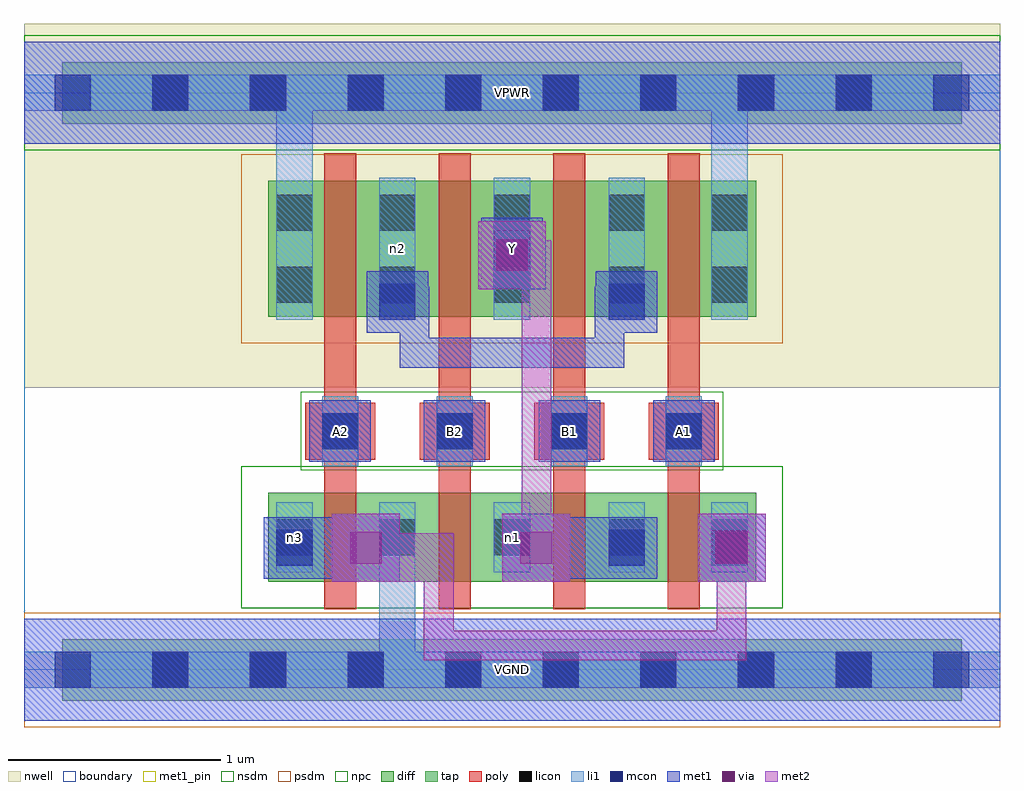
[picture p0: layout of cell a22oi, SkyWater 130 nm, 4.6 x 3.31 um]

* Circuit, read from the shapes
.subckt a22oi A1 A2 B1 B2 VGND VPWR Y n1 n2 n3
XM1 VGND A2 n3 VGND sky130_fd_pr__nfet_01v8 w=0.42 l=0.15
XM2 n1 B2 VGND VGND sky130_fd_pr__nfet_01v8 w=0.42 l=0.15
XM3 Y B1 n1 VGND sky130_fd_pr__nfet_01v8 w=0.42 l=0.15
XM4 n3 A1 Y VGND sky130_fd_pr__nfet_01v8 w=0.42 l=0.15
XM5 n2 A2 VPWR VPWR sky130_fd_pr__pfet_01v8 w=0.64 l=0.15
XM6 Y B2 n2 VPWR sky130_fd_pr__pfet_01v8 w=0.64 l=0.15
XM7 n2 B1 Y VPWR sky130_fd_pr__pfet_01v8 w=0.64 l=0.15
XM8 VPWR A1 n2 VPWR sky130_fd_pr__pfet_01v8 w=0.64 l=0.15
.ends

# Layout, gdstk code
import gdstk
lib = gdstk.Library(unit=1e-6, precision=1e-09)
def R(c, l, rs):  # rectangles x0, y0, x1, y1
    for r in rs: c.add(gdstk.rectangle(r[:2], r[2:], *l))
def A(c, l, x, y, w, h, nx, ny, dx, dy):  # array of equal rectangles
    R(c, l, [(x+i*dx, y+j*dy, x+i*dx+w, y+j*dy+h) for i in range(nx) for j in range(ny)])
nwell = (64, 20)
diff = (65, 20)
tap = (65, 44)
poly = (66, 20)
licon = (66, 44)
li1 = (67, 20)
mcon = (67, 44)
met1_pin = (68, 16)
met1 = (68, 20)
via = (68, 44)
met2 = (69, 20)
nsdm = (93, 44)
psdm = (94, 20)
npc = (95, 20)
boundary = (235, 4)

a22oi = lib.new_cell('a22oi')
R(a22oi, nwell, [(0,1.33,4.6,3.045)])
R(a22oi, diff, [(1.15,0.415,3.45,0.835), (1.15,1.665,3.45,2.305)])
R(a22oi, tap, [(0.18,-0.145,4.42,0.145), (0.18,2.575,4.42,2.865)])
A(a22oi, poly, 1.415, 0.285, 0.15, 2.15, 4, 1, 0.54, 0)
A(a22oi, poly, 1.325, 0.99, 0.33, 0.27, 4, 1, 0.54, 0)
A(a22oi, licon, 0.605, -0.085, 0.17, 0.17, 8, 2, 0.46, 2.72)
A(a22oi, licon, 1.675, 0.54, 0.17, 0.17, 3, 2, 0.54, 1.19)
A(a22oi, licon, 1.405, 1.04, 0.17, 0.17, 4, 1, 0.54, 0)
A(a22oi, licon, 1.675, 2.07, 0.17, 0.17, 3, 1, 0.54, 0)
R(a22oi, licon, [(1.19,0.54,1.36,0.71), (3.24,0.54,3.41,0.71), (1.19,1.73,1.36,1.9), (3.24,1.73,3.41,1.9), (1.19,2.07,1.36,2.24), (3.24,2.07,3.41,2.24)])
A(a22oi, li1, 1.675, 0.46, 0.17, 0.33, 3, 1, 0.54, 0)
A(a22oi, li1, 1.405, 0.96, 0.17, 0.33, 4, 1, 0.54, 0)
A(a22oi, li1, 1.675, 1.65, 0.17, 0.67, 3, 1, 0.54, 0)
R(a22oi, li1, [(0,-0.085,4.6,0.085), (1.675,-0.085,1.845,0.79), (1.19,0.46,1.36,0.79), (3.24,0.46,3.41,0.79), (1.19,1.65,1.36,2.32), (1.19,1.65,1.36,2.805), (3.24,1.65,3.41,2.32), (3.24,1.65,3.41,2.805), (0,2.635,4.6,2.805)])
A(a22oi, mcon, 0.145, -0.085, 0.17, 0.17, 10, 2, 0.46, 2.72)
A(a22oi, mcon, 1.405, 1.04, 0.17, 0.17, 4, 1, 0.54, 0)
R(a22oi, mcon, [(1.19,0.49,1.36,0.66), (2.755,0.49,2.925,0.66), (3.24,0.49,3.41,0.66), (1.675,1.65,1.845,1.82), (2.755,1.65,2.925,1.82), (2.215,1.9,2.385,2.07)])
A(a22oi, met1_pin, 1.345, 0.98, 0.29, 0.29, 4, 1, 0.54, 0)
R(a22oi, met1_pin, [(0,-0.24,4.6,0.24), (2.155,1.84,2.445,2.13), (0,2.48,4.6,2.96)])
A(a22oi, met1, 1.345, 0.98, 0.29, 0.29, 4, 1, 0.54, 0)
R(a22oi, met1, [(0,-0.24,4.6,0.24), (1.45,0.415,1.77,0.735), (2.255,0.415,2.575,0.735), (3.175,0.415,3.495,0.735), (1.13,0.43,1.42,0.72), (1.42,0.43,1.45,0.72), (2.575,0.43,2.695,0.72), (2.695,0.43,2.985,0.72), (3.18,0.43,3.47,0.72), (1.205,0.505,1.45,0.645), (1.31,0.505,1.68,0.645), (2.345,0.505,2.715,0.645), (2.575,0.505,2.91,0.645), (3.255,0.505,3.405,0.645), (1.77,1.425,1.91,1.68), (1.77,1.425,2.83,1.565), (2.69,1.425,2.83,1.68), (1.77,1.54,1.91,1.805), (2.69,1.54,2.83,1.805), (1.615,1.59,1.905,1.88), (2.695,1.59,2.985,1.88), (1.69,1.665,1.91,1.805), (2.69,1.665,2.91,1.805), (2.14,1.795,2.46,2.115), (2.155,1.84,2.445,2.13), (2.23,1.885,2.37,2.025), (0,2.48,4.6,2.96)])
R(a22oi, via, [(1.535,0.5,1.685,0.65), (2.34,0.5,2.49,0.65), (3.26,0.5,3.41,0.65), (2.225,1.88,2.375,2.03)])
R(a22oi, met2, [(1.885,0.045,2.025,0.645), (1.885,0.045,3.405,0.185), (3.265,0.045,3.405,0.645), (1.45,0.415,1.77,0.735), (1.77,0.415,1.885,0.645), (2.255,0.415,2.575,0.735), (3.175,0.415,3.495,0.735), (1.54,0.505,2.025,0.645), (2.345,0.505,2.485,2.025), (2.14,1.795,2.46,2.115), (2.23,1.885,2.485,2.025)])
R(a22oi, nsdm, [(1.025,0.29,3.575,0.96), (0,2.45,4.6,2.99)])
R(a22oi, psdm, [(0,-0.27,4.6,0.27), (1.025,1.54,3.575,2.43)])
R(a22oi, npc, [(1.305,0.94,3.295,1.31)])
R(a22oi, boundary, [(0,0,4.6,2.72)])
a22oi.add(gdstk.Label('n3', (1.275,0.625), layer=67, texttype=5))
a22oi.add(gdstk.Label('n1', (2.3,0.625), layer=67, texttype=5))
a22oi.add(gdstk.Label('n2', (1.76,1.985), layer=67, texttype=5))
a22oi.add(gdstk.Label('A2', (1.49,1.125), layer=68, texttype=5))
a22oi.add(gdstk.Label('B2', (2.03,1.125), layer=68, texttype=5))
a22oi.add(gdstk.Label('B1', (2.57,1.125), layer=68, texttype=5))
a22oi.add(gdstk.Label('A1', (3.11,1.125), layer=68, texttype=5))
a22oi.add(gdstk.Label('Y', (2.3,1.985), layer=68, texttype=5))
a22oi.add(gdstk.Label('VPWR', (2.3,2.72), layer=68, texttype=5))
a22oi.add(gdstk.Label('VGND', (2.3,0), layer=68, texttype=5))
a22oi.add(gdstk.Label('A2', (1.49,1.125), layer=68, texttype=16))
a22oi.add(gdstk.Label('B2', (2.03,1.125), layer=68, texttype=16))
a22oi.add(gdstk.Label('B1', (2.57,1.125), layer=68, texttype=16))
a22oi.add(gdstk.Label('A1', (3.11,1.125), layer=68, texttype=16))
a22oi.add(gdstk.Label('Y', (2.3,1.985), layer=68, texttype=16))
a22oi.add(gdstk.Label('VPWR', (2.3,2.72), layer=68, texttype=16))
a22oi.add(gdstk.Label('VGND', (2.3,0), layer=68, texttype=16))

lib.write_gds('a22oi.gds')
